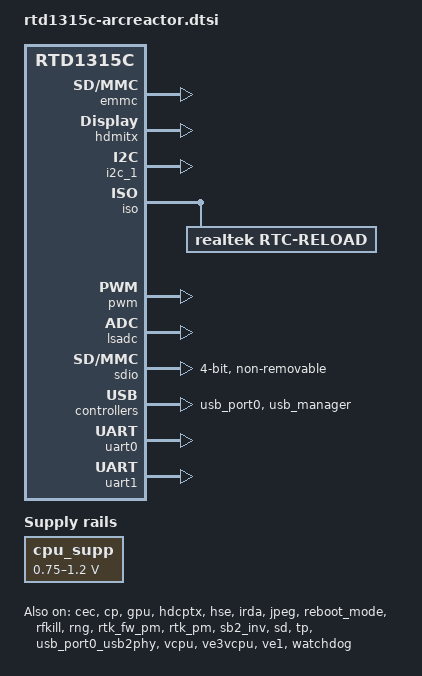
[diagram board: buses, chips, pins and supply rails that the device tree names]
// SPDX-License-Identifier: (GPL-2.0-or-later OR BSD-2-Clause)
/*
 * Copyright (c) 2020-2022 Realtek Semiconductor Corp.
 */

/dts-v1/;

#include <dt-bindings/soc/realtek,pm.h>
#include <dt-bindings/thermal/thermal.h>
#include "rtd16xxb.dtsi"

/ {
	chosen {
		stdout-path = "serial0:460800n8";
	};

	aliases {
		serial0 = &uart0;
		serial1 = &uart1;
		serial2 = &uart2;
		rtc0 = &sw_rtc;
	};

	sw_rtc: sw-rtc {
		compatible = "realtek,emulated-rtc";
	};

	cpu_supp: pwm-regulator {
		compatible = "pwm-regulator";
		pinctrl-names = "default";
		pinctrl-0 = <&pwm2_0_pins>;
		pwms = <&pwm 2 8149>;
		status = "okay";

		regulator-name = "cpudvs";
		regulator-min-microvolt = <750000>;
		regulator-max-microvolt = <1200000>;
		regulator-boot-on;
		regulator-always-on;
		regulator-ramp-delay = <400>;

		voltage-table =
			<1200000 0>,
			<1187500 2>,
			<1175000 5>,
			<1162500 7>,
			<1150000 10>,
			<1137500 11>,
			<1125000 14>,
			<1112500 16>,
			<1100000 19>,
			<1087500 20>,
			<1075000 23>,
			<1062500 26>,
			<1050000 28>,
			<1037500 30>,
			<1025000 32>,
			<1012500 35>,
			<1000000 37>,
			<987500 40>,
			<975000 41>,
			<962500 44>,
			<950000 47>,
			<937500 49>,
			<925000 50>,
			<912500 53>,
			<900000 55>,
			<887500 58>,
			<875000 60>,
			<862500 62>,
			<850000 64>,
			<837500 67>,
			<825000 70>,
			<812500 71>,
			<800000 74>,
			<787500 76>,
			<775000 79>,
			<762500 80>,
			<750000 83>;
	};
};

&audio_out {
	pinctrl-names = "default";
	pinctrl-0 = <&spdif_pins>;
	status = "okay";
};

&cec {
	status = "okay";
};

&cp {
	status = "okay";
};

&cpu0 {
	cpu-supply = <&cpu_supp>;
	operating-points-v2 = <&cpu_opps>;
	#cooling-cells = <2>;
};

&cpu1 {
	cpu-supply = <&cpu_supp>;
	operating-points-v2 = <&cpu_opps>;
	#cooling-cells = <2>;
};

&cpu2 {
	cpu-supply = <&cpu_supp>;
	operating-points-v2 = <&cpu_opps>;
	#cooling-cells = <2>;
};

&cpu3 {
	cpu-supply = <&cpu_supp>;
	operating-points-v2 = <&cpu_opps>;
	#cooling-cells = <2>;
};

&cpu_dvfs {
	fss,opp-updated = <0>;
	fss,volt-correct = <25000>;
	fss,volt-step = <25000>;
	fss,volt-min = <775000>;
	fss,volt-max = <1087500>;

	bsv,opp-updated = <0>;
	bsv,volt-correct = <150000 175000>;
	bsv,volt-step = <25000>;
	bsv,volt-min = <800000>;
	bsv,volt-max = <1087500>;

	cpu_opps: opp-table-cpu {
		compatible = "operating-points-v2";
		opp-shared;
		opp1000: opp-1000000000 {
			opp-hz = /bits/ 64 <1000000000>;
			opp-microvolt = <800000>;
			opp-microvolt-fss = <0>;
			opp-microvolt-bsv = <0>;
			clock-latency-ns = <150000>;
			status = "okay";
		};

		opp1100: opp-1100000000 {
			opp-hz = /bits/ 64 <1100000000>;
			opp-microvolt = <825000>;
			opp-microvolt-fss = <0>;
			opp-microvolt-bsv = <0>;
			clock-latency-ns = <150000>;
			status = "okay";
		};

		opp1200: opp-1200000000 {
			opp-hz = /bits/ 64 <1200000000>;
			opp-microvolt = <850000>;
			opp-microvolt-fss = <0>;
			opp-microvolt-bsv = <0>;
			clock-latency-ns = <150000>;
			status = "okay";
		};

		opp1300: opp-1300000000 {
			opp-hz = /bits/ 64 <1300000000>;
			opp-microvolt = <875000>;
			opp-microvolt-fss = <0>;
			opp-microvolt-bsv = <0>;
			clock-latency-ns = <150000>;
			status = "okay";
		};

		opp1400: opp-1400000000 {
			opp-hz = /bits/ 64 <1400000000>;
			opp-microvolt = <900000>;
			opp-microvolt-fss = <0>;
			opp-microvolt-bsv = <0>;
			clock-latency-ns = <150000>;
			status = "okay";
		};

		opp1500: opp-1500000000 {
			opp-hz = /bits/ 64 <1500000000>;
			opp-microvolt = <937500>;
			opp-microvolt-fss = <0>;
			opp-microvolt-bsv = <0>;
			clock-latency-ns = <150000>;
			status = "okay";
			opp-suspend;
		};
	};
};

&cpu_thermal {
	trips {
		cpu_alert0: cpu-alert0 {
			temperature = <90000>;
			hysteresis = <0>;
			type = "passive";
		};

		cpu_alert1: cpu-alert1 {
			temperature = <105000>;
			hysteresis = <0>;
			type = "passive";
		};
	};

	cooling-maps {
		cpu-map0 {
			trip = <&cpu_alert0>;
			cooling-device = <&cpu0 THERMAL_NO_LIMIT 3>;
			contribution = <70>;
		};

		cpu-map1 {
			trip = <&cpu_alert1>;
			cooling-device = <&cpu0 4 THERMAL_NO_LIMIT>;
			contribution = <70>;
		};
	};
};

&cpu_tm {
	status = "okay";
};

&emmc {
	status = "okay";
};

&gpio {
	status = "okay";
};

&gpu {
	operating-points-v2 = <&gpu_opps>;
	status = "okay";

	gpu_opps: opp-table-gpu {
		compatible = "operating-points-v2",
			     "operating-points-v2-mali";

		opp-450000000 {
			opp-hz = /bits/ 64 <450000000>;
			opp-hz-real = /bits/ 64 <450000000>;
			opp-suspend;
		};

		opp-550000000 {
			opp-hz = /bits/ 64 <550000000>;
			opp-hz-real = /bits/ 64 <550000000>;
		};

		opp-650000000 {
			opp-hz = /bits/ 64 <650000000>;
			opp-hz-real = /bits/ 64 <650000000>;
		};

		opp-702000000 {
			opp-hz = /bits/ 64 <702000000>;
			opp-hz-real = /bits/ 64 <702000000>;
		};
	};
};

&hdcptx {
	status = "okay";
};

&hdmitx {
	status = "okay";
};

&hse {
	status = "okay";
};

&i2c_0 {
	status = "disabled";
};

&i2c_1 {
	status = "okay";
};

&i2c_3 {
	status = "disabled";
};

&i2c_4 {
	status = "disabled";
};

&i2c_5 {
	status = "disabled";
};

&irda {
	status = "okay";
};

&iso {
	rtc-reload@64c {
		compatible = "realtek,rtc-reload";
		reg = <0x64c 0x4>;
		status = "okay";
	};
};

&jpeg {
	status = "okay";
};

&nic {
	status = "disabled";
};

&pcie1 {
	status = "disabled";
};

&pcie1_phy {
	status = "disabled";
};

&pcie2 {
	status = "disabled";
};

&pcie2_phy {
	status = "disabled";
};

&pwm {
	status = "okay";

	pwm_2 {
		enable = <1>;
		clkout_div = <0x6d>;
		clksrc_div = <0x00>;
		duty_rate = <55>;
	};
};

&reboot_mode {
	status = "okay";
};

&rfkill {
	rfkill-gpios = <&gpio 61 GPIO_ACTIVE_HIGH>;
	status = "okay";
};

&lsadc {
	status = "okay";
};

&rng {
	status = "okay";
};

&rtk_fw_pm {
	status = "okay";
};

&rtk_pm {
	wakeup-flags = <0x3e>;
	wakeup-gpio-list = <58 GPIO_WAKEUP_ENABLE GPIO_WAKEUP_ACTIVE_LOW>,
			   <60 GPIO_WAKEUP_ENABLE GPIO_WAKEUP_ACTIVE_LOW>;
	wakeup-timer = <0>;
	status = "okay";
};

&sb2_inv {
	status = "okay";
};

&sd {
	status = "okay";
};

&sdio {
	sdio-gpios = <&gpio 57 GPIO_ACTIVE_HIGH>;
	bus-width = <4>;
	non-removable;
	cap-sd-highspeed;
	cap-mmc-highspeed;
	sd-uhs-sdr12;
	sd-uhs-sdr25;
	sd-uhs-sdr50;
	sd-uhs-sdr104;
	keep-power-in-suspend;
	enable-sdio-wakeup;
	no-sd;
	no-mmc;
	status = "okay";
};

&sound {
	status = "okay";
};

&tp {
	status = "okay";
};

&usb_port0_usb2phy {
	status = "okay";
};

&usb_port0 {
	status = "okay";
};

&usb_port1_usb2phy {
	status = "disabled";
};

&usb_port1 {
	status = "disabled";
};

&usb_port2_usb2phy {
	status = "disabled";
};

&usb_port2_usb3phy {
	status = "disabled";
};

&usb_port2 {
	status = "disabled";
	disable_usb3;

	dwc3_u3drd@50000 {
		snps,dev_force_20_clk_for_30_clk;
		maximum-speed = "high-speed";
	};
};

&type_c {
	status = "disabled";

	dwc3_rtk = <&usb_port0>;
};

/* debug console (J1) */
&uart0 {
	status = "okay";
};

/* M.2 slot (CON2) */
&uart1 {
	status = "okay";
};

&uart2 {
	status = "disabled";
};

&usb_manager {
	status = "okay";

	gpio0 {
		realtek,power-gpio = <&gpio 48 GPIO_ACTIVE_HIGH>;
		power_low_active;
	};
	port2 {
		disable_usb3;
	};

};

&vcpu {
	status = "okay";
};

&ve3vcpu {
	status = "okay";
};

&ve1 {
	status = "okay";
};

&watchdog {
	status = "okay";
};
